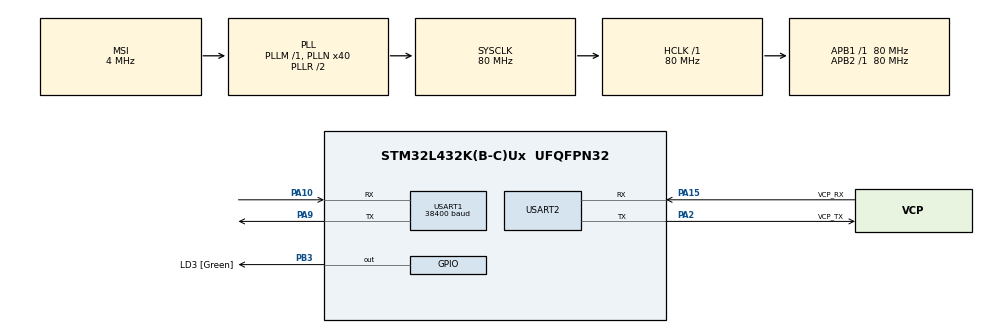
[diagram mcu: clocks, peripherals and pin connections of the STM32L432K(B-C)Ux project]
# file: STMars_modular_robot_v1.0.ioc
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Mcu.Family=STM32L4
Mcu.Name=STM32L432K(B-C)Ux
Mcu.Package=UFQFPN32
NVIC.PriorityGroup=NVIC_PRIORITYGROUP_4
NVIC.USART1_IRQn=true\:0\:0\:false\:true\:true\:1\:true\:true
PA0.GPIO_Label=MCO [High speed clock in]
PA0.Mode=HSE-External-Clock-Source-for-LittleOrca
PA0.Signal=RCC_CK_IN
PA10.Mode=Asynchronous
PA10.Signal=USART1_RX
PA13\ (JTMS-SWDIO).GPIO_Label=SWDIO
PA13\ (JTMS-SWDIO).Mode=Serial_Wire
PA13\ (JTMS-SWDIO).Signal=SYS_JTMS-SWDIO
PA14\ (JTCK-SWCLK).GPIO_Label=SWCLK
PA14\ (JTCK-SWCLK).Mode=Serial_Wire
PA14\ (JTCK-SWCLK).Signal=SYS_JTCK-SWCLK
PA15\ (JTDI).GPIO_Label=VCP_RX
PA15\ (JTDI).Mode=Asynchronous
PA15\ (JTDI).Signal=USART2_RX
PA2.GPIO_Label=VCP_TX
PA2.Mode=Asynchronous
PA2.Signal=USART2_TX
PA9.Mode=Asynchronous
PA9.Signal=USART1_TX
PB3\ (JTDO-TRACESWO).GPIO_Label=LD3 [Green]
PB3\ (JTDO-TRACESWO).Signal=GPIO_Output
PC14-OSC32_IN\ (PC14).Mode=LSE-External-Oscillator
PC14-OSC32_IN\ (PC14).Signal=RCC_OSC32_IN
PC15-OSC32_OUT\ (PC15).Mode=LSE-External-Oscillator
PC15-OSC32_OUT\ (PC15).Signal=RCC_OSC32_OUT
ProjectManager.HeapSize=0x200
ProjectManager.StackSize=0x400
ProjectManager.TargetToolchain=STM32CubeIDE
RCC.AHBFreq_Value=80000000
RCC.APB1Freq_Value=80000000
RCC.APB1TimFreq_Value=80000000
RCC.APB2Freq_Value=80000000
RCC.APB2TimFreq_Value=80000000
RCC.CortexFreq_Value=80000000
RCC.HCLKFreq_Value=80000000
RCC.HSE_VALUE=8000000
RCC.HSI16_VALUE=16000000
RCC.HSI48_VALUE=48000000
RCC.HSI_VALUE=16000000
RCC.MSI_VALUE=4000000
RCC.PLLMUL=RCC_PLLMUL_4
RCC.PLLN=40
RCC.SYSCLKFreq_VALUE=80000000
RCC.SYSCLKSource=RCC_SYSCLKSOURCE_PLLCLK
RCC.VCOOutputFreq_Value=160000000
USART1.BaudRate=38400
USART1.VirtualMode-Asynchronous=VM_ASYNC
USART2.VirtualMode-Asynchronous=VM_ASYNC
board=NUCLEO-L432KC

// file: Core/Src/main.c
/* USER CODE BEGIN Header */
/**
  ******************************************************************************
  * @file           : main.c
  * @brief          : Main program body
  * @author			: grados73
  * @project		: STMars_modular_robot
  */
/* USER CODE END Header */
#include "main.h"
#include "usart.h"
#include "gpio.h"

/* USER CODE BEGIN Includes */
#include "stdio.h"
#include "string.h"
#include "ring_buffer.h"
#include "uart_decryption.h"
/* USER CODE END Includes */

/* USER CODE BEGIN PV */
uint8_t MessageToSend[32];
uint8_t LenToSend;
uint8_t i;

RingBuffer MessageToRead;
uint8_t Value;
char ReceiveChar;
/* USER CODE END PV */

void SystemClock_Config(void);
static void MX_NVIC_Init(void);

int main(void)
{

  /* MCU Configuration--------------------------------------------------------*/

  /* Reset of all peripherals, Initializes the Flash interface and the Systick. */
  HAL_Init();

  /* Configure the system clock */
  SystemClock_Config();

  /* Initialize all configured peripherals */
  MX_GPIO_Init();
  MX_USART2_UART_Init();
  MX_USART1_UART_Init();

  /* Initialize interrupts */
  MX_NVIC_Init();
  /* USER CODE BEGIN 2 */
  HAL_UART_Receive_IT(&huart1, &Value, 1);
  /* USER CODE END 2 */

  /* Infinite loop */
  while (1)
  {

  }
}

void SystemClock_Config(void)
{
  RCC_OscInitTypeDef RCC_OscInitStruct = {0};
  RCC_ClkInitTypeDef RCC_ClkInitStruct = {0};
  RCC_PeriphCLKInitTypeDef PeriphClkInit = {0};

  /** Configure LSE Drive Capability
  */
  HAL_PWR_EnableBkUpAccess();
  __HAL_RCC_LSEDRIVE_CONFIG(RCC_LSEDRIVE_LOW);
  /** Initializes the RCC Oscillators according to the specified parameters
  * in the RCC_OscInitTypeDef structure.
  */
  RCC_OscInitStruct.OscillatorType = RCC_OSCILLATORTYPE_LSE|RCC_OSCILLATORTYPE_MSI;
  RCC_OscInitStruct.LSEState = RCC_LSE_ON;
  RCC_OscInitStruct.MSIState = RCC_MSI_ON;
  RCC_OscInitStruct.MSICalibrationValue = 0;
  RCC_OscInitStruct.MSIClockRange = RCC_MSIRANGE_6;
  RCC_OscInitStruct.PLL.PLLState = RCC_PLL_ON;
  RCC_OscInitStruct.PLL.PLLSource = RCC_PLLSOURCE_MSI;
  RCC_OscInitStruct.PLL.PLLM = 1;
  RCC_OscInitStruct.PLL.PLLN = 40;
  RCC_OscInitStruct.PLL.PLLP = RCC_PLLP_DIV7;
  RCC_OscInitStruct.PLL.PLLQ = RCC_PLLQ_DIV2;
  RCC_OscInitStruct.PLL.PLLR = RCC_PLLR_DIV2;
  if (HAL_RCC_OscConfig(&RCC_OscInitStruct) != HAL_OK)
  {
    Error_Handler();
  }
  /** Initializes the CPU, AHB and APB buses clocks
  */
  RCC_ClkInitStruct.ClockType = RCC_CLOCKTYPE_HCLK|RCC_CLOCKTYPE_SYSCLK
                              |RCC_CLOCKTYPE_PCLK1|RCC_CLOCKTYPE_PCLK2;
  RCC_ClkInitStruct.SYSCLKSource = RCC_SYSCLKSOURCE_PLLCLK;
  RCC_ClkInitStruct.AHBCLKDivider = RCC_SYSCLK_DIV1;
  RCC_ClkInitStruct.APB1CLKDivider = RCC_HCLK_DIV1;
  RCC_ClkInitStruct.APB2CLKDivider = RCC_HCLK_DIV1;

  if (HAL_RCC_ClockConfig(&RCC_ClkInitStruct, FLASH_LATENCY_4) != HAL_OK)
  {
    Error_Handler();
  }
  PeriphClkInit.PeriphClockSelection = RCC_PERIPHCLK_USART1|RCC_PERIPHCLK_USART2;
  PeriphClkInit.Usart1ClockSelection = RCC_USART1CLKSOURCE_PCLK2;
  PeriphClkInit.Usart2ClockSelection = RCC_USART2CLKSOURCE_PCLK1;
  if (HAL_RCCEx_PeriphCLKConfig(&PeriphClkInit) != HAL_OK)
  {
    Error_Handler();
  }
  /** Configure the main internal regulator output voltage
  */
  if (HAL_PWREx_ControlVoltageScaling(PWR_REGULATOR_VOLTAGE_SCALE1) != HAL_OK)
  {
    Error_Handler();
  }
  /** Enable MSI Auto calibration
  */
  HAL_RCCEx_EnableMSIPLLMode();
}

/**
  * @brief NVIC Configuration.
  * @retval None
  */
static void MX_NVIC_Init(void)
{
  /* USART1_IRQn interrupt configuration */
  HAL_NVIC_SetPriority(USART1_IRQn, 0, 0);
  HAL_NVIC_EnableIRQ(USART1_IRQn);
}

/* USER CODE BEGIN 4 */
void HAL_UART_TxCpltCallback(UART_HandleTypeDef *huart) // funkcja wywolywana po pomyslnym przeslaniu uarta
{
	if(huart == &huart1) // spr czy nasz uart 2 przychodzi, huart to wskaznik, a huart2 to struktura, wiec potrzebujemy jej adres do spr ==
	{
		i++;
		LenToSend = sprintf((char*) MessageToSend, "Int nr: %d\r\n", i);
		HAL_UART_Transmit_IT(&huart1, MessageToSend, LenToSend);
	}
}

//ODBIOR
void HAL_UART_RxCpltCallback(UART_HandleTypeDef *huart)
{
	if(huart == &huart1)
	{
		HAL_UART_Receive_IT(&huart1, &Value, 1); // wywolanie przerwania po otrzymaniu 1 znaku
//		if(Value == '\n')
//		{
//			UART_ParseLine(&MessageToRead);
//		}
		RB_Write(&MessageToRead, Value);
	}

}
/* USER CODE END 4 */

void Error_Handler(void)
{
  __disable_irq();
  while (1)
  {
  }
}

/************************ (C) COPYRIGHT STMicroelectronics *****END OF FILE****/
